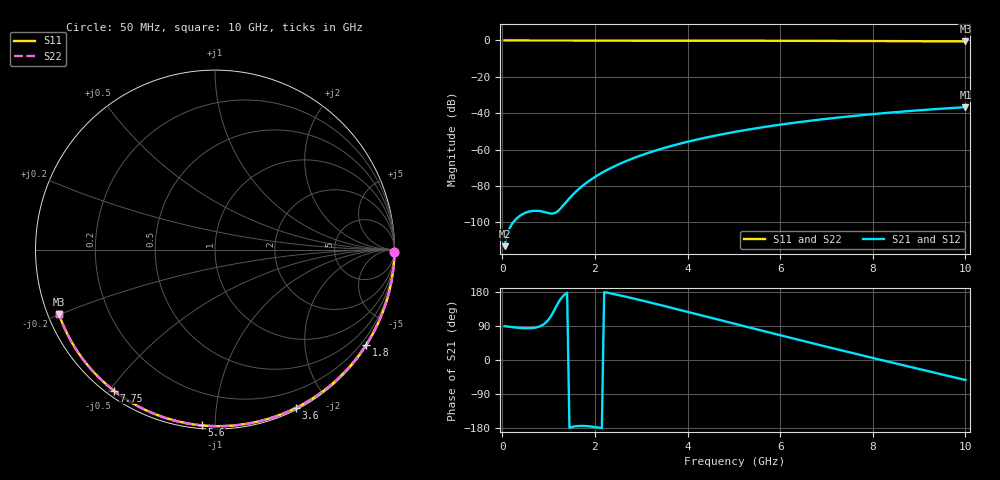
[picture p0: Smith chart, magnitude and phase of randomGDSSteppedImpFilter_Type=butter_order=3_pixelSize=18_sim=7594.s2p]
! freq	dB(S11)	phase(S11)	dB(S12)	phase(S12)
!  dB(S21)	phase(S21)	dB(S22)	phase(S22)
!S-par simulation data
#  GHz  S  DB  R 50
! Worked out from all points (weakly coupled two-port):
!   200 points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, 50 MHz to 10 GHz, reference 50 ohm
!   highest |S21| = -36.70 dB at 10 GHz (marker M1); lowest = -113.2 dB at 50 MHz (marker M2)
!   lowest |S11| = -0.5 dB at 10 GHz (marker M3), VSWR 32.78, Z = 1.58 - j9.88 ohm
!   |S11| at or under -10 dB: nowhere
!   |S22| runs from -0.5 to 0.0 dB; largest |S21 - S12| = 0
!   S11 on the Smith chart (normalised r, x): 50 MHz: open; 1.8 GHz: 0.03, -3.45; 3.6 GHz: 0.02, -1.63; 5.6 GHz: 0.02, -0.93; 7.75 GHz: 0.02, -0.51; 10 GHz: 0.03, -0.20
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0.05  -0.00 -0.9  -113.18 89.2  -113.18 89.2  -0.00 -0.9
0.45  -0.01 -8.2  -95.39 84.1  -95.39 84.1  -0.01 -8.2
0.9  -0.02 -16.3  -94.32 94.7  -94.32 94.7  -0.02 -16.3
1.7  -0.04 -30.6  -80.68 -173.8  -80.68 -173.8  -0.04 -30.6
1.75  -0.04 -31.5  -79.63 -173.9  -79.63 -173.9  -0.04 -31.5
1.8  -0.04 -32.3  -78.64 -174.2  -78.64 -174.2  -0.04 -32.3
1.95  -0.04 -35.0  -75.94 -176.0  -75.94 -176.0  -0.04 -35.0
2.1  -0.05 -37.6  -73.55 -178.7  -73.55 -178.7  -0.05 -37.6
2.3  -0.05 -41.1  -70.75 176.7  -70.75 176.7  -0.05 -41.1
2.5  -0.06 -44.5  -68.30 171.6  -68.30 171.6  -0.06 -44.5
2.9  -0.07 -51.3  -64.11 160.4  -64.11 160.4  -0.07 -51.3
3.4  -0.08 -59.7  -59.87 145.5  -59.87 145.5  -0.08 -59.7
3.6  -0.08 -63.0  -58.39 139.4  -58.39 139.4  -0.08 -63.0
4.3  -0.11 -74.3  -53.97 117.8  -53.97 117.8  -0.11 -74.3
5.05  -0.13 -86.0  -50.17 94.6  -50.17 94.6  -0.13 -86.0
5.6  -0.16 -94.4  -47.84 77.6  -47.84 77.6  -0.16 -94.4
6.15  -0.18 -102.6  -45.80 60.8  -45.80 60.8  -0.18 -102.6
6.7  -0.22 -110.6  -44.01 44.1  -44.01 44.1  -0.22 -110.6
7.75  -0.29 -125.6  -41.13 12.8  -41.13 12.8  -0.29 -125.6
8.35  -0.34 -134.1  -39.74 -4.8  -39.74 -4.8  -0.34 -134.1
9.2  -0.43 -146.1  -38.04 -29.6  -38.04 -29.6  -0.43 -146.2
10  -0.53 -157.6  -36.70 -52.7  -36.70 -52.7  -0.53 -157.6
